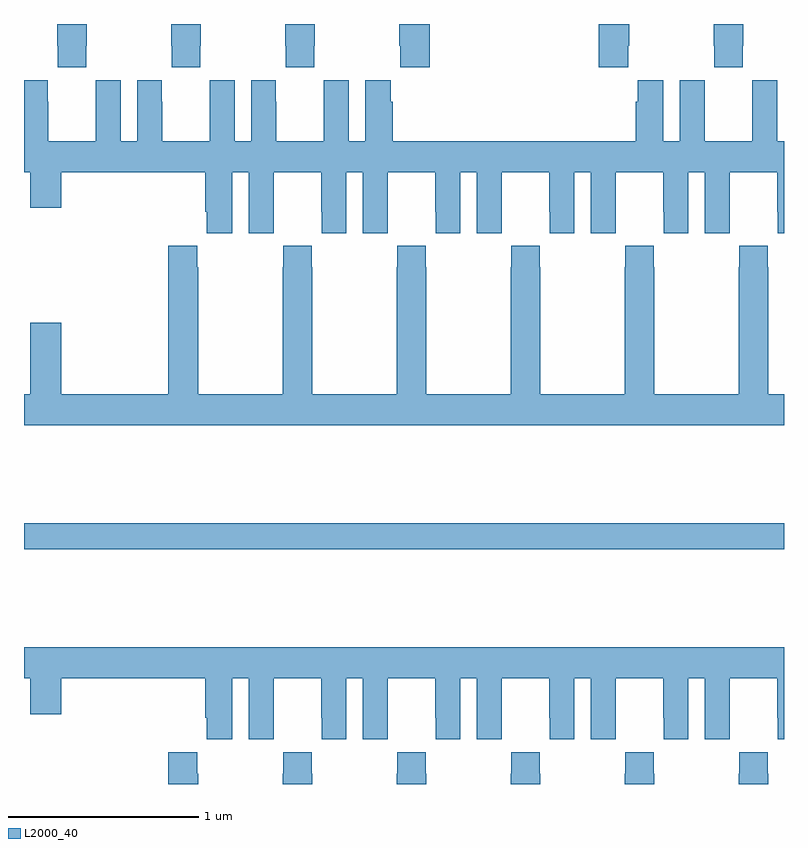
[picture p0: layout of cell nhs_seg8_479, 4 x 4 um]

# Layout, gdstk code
import gdstk
lib = gdstk.Library(unit=1e-6, precision=1e-09)
def R(c, l, rs):  # rectangles x0, y0, x1, y1
    for r in rs: c.add(gdstk.rectangle(r[:2], r[2:], *l))
def P(c, l, *ps):  # polygons
    for p in ps: c.add(gdstk.Polygon(p, *l))
L2000_40 = (2000, 40)

nhs_seg8_479 = lib.new_cell('nhs_seg8_479')
R(nhs_seg8_479, L2000_40, [(141,1161.136,145,1161.272)])
P(nhs_seg8_479, L2000_40, [(144.179,1163.785),(144.186,1163.785),(144.186,1163.9),(144.026,1163.9),(144.026,1163.673),(144.179,1163.673)],
  [(143.135,1163.9),(142.975,1163.9),(142.975,1163.785),(142.981,1163.785),(142.981,1163.673),(143.135,1163.673)],
  [(142.527,1163.785),(142.53,1163.785),(142.53,1163.9),(142.375,1163.9),(142.375,1163.785),(142.377,1163.785),(142.377,1163.673),(142.527,1163.673)],
  [(141.927,1163.785),(141.93,1163.785),(141.93,1163.9),(141.775,1163.9),(141.775,1163.785),(141.777,1163.785),(141.777,1163.673),(141.927,1163.673)],
  [(141.327,1163.785),(141.33,1163.785),(141.33,1163.9),(141.175,1163.9),(141.175,1163.785),(141.177,1163.785),(141.177,1163.673),(141.327,1163.673)],
  [(144.783,1163.785),(144.786,1163.785),(144.786,1163.9),(144.631,1163.9),(144.631,1163.785),(144.633,1163.785),(144.633,1163.673),(144.783,1163.673)],
  [(142.94,1163.492),(142.93,1163.492),(142.93,1163.605),(142.796,1163.605),(142.796,1163.284),(142.708,1163.284),(142.708,1163.605),(142.578,1163.605),(142.578,1163.492),(142.577,1163.492),(142.577,1163.284),(142.327,1163.284),(142.327,1163.492),(142.326,1163.492),(142.326,1163.605),(142.196,1163.605),(142.196,1163.284),(142.108,1163.284),(142.108,1163.605),(141.978,1163.605),(141.978,1163.492),(141.977,1163.492),(141.977,1163.284),(141.727,1163.284),(141.727,1163.492),(141.726,1163.492),(141.726,1163.605),(141.596,1163.605),(141.596,1163.284),(141.508,1163.284),(141.508,1163.605),(141.378,1163.605),(141.378,1163.492),(141.377,1163.492),(141.377,1163.284),(141.127,1163.284),(141.127,1163.492),(141.126,1163.492),(141.126,1163.605),(141,1163.605),(141,1163.12),(141.032,1163.12),(141.032,1162.932),(141.196,1162.932),(141.196,1163.12),(141.953,1163.12),(141.953,1162.912),(141.962,1162.912),(141.962,1162.8),(142.096,1162.8),(142.096,1163.12),(142.184,1163.12),(142.184,1162.8),(142.314,1162.8),(142.314,1162.912),(142.315,1162.912),(142.315,1163.12),(142.565,1163.12),(142.565,1162.912),(142.566,1162.912),(142.566,1162.8),(142.696,1162.8),(142.696,1163.12),(142.784,1163.12),(142.784,1162.8),(142.914,1162.8),(142.914,1162.912),(142.915,1162.912),(142.915,1163.12),(143.165,1163.12),(143.165,1162.912),(143.166,1162.912),(143.166,1162.8),(143.296,1162.8),(143.296,1163.12),(143.384,1163.12),(143.384,1162.8),(143.514,1162.8),(143.514,1162.912),(143.515,1162.912),(143.515,1163.12),(143.765,1163.12),(143.765,1162.912),(143.766,1162.912),(143.766,1162.8),(143.896,1162.8),(143.896,1163.12),(143.984,1163.12),(143.984,1162.8),(144.114,1162.8),(144.114,1162.912),(144.115,1162.912),(144.115,1163.12),(144.365,1163.12),(144.365,1162.912),(144.366,1162.912),(144.366,1162.8),(144.496,1162.8),(144.496,1163.12),(144.584,1163.12),(144.584,1162.8),(144.714,1162.8),(144.714,1162.912),(144.715,1162.912),(144.715,1163.12),(144.965,1163.12),(144.965,1162.912),(144.966,1162.912),(144.966,1162.8),(145,1162.8),(145,1163.284),(144.964,1163.284),(144.964,1163.605),(144.834,1163.605),(144.834,1163.492),(144.833,1163.492),(144.833,1163.284),(144.583,1163.284),(144.583,1163.492),(144.582,1163.492),(144.582,1163.605),(144.452,1163.605),(144.452,1163.284),(144.364,1163.284),(144.364,1163.605),(144.23,1163.605),(144.23,1163.492),(144.221,1163.492),(144.221,1163.284),(142.94,1163.284)],
  [(145,1161.952),(144.918,1161.952),(144.918,1162.619),(144.915,1162.619),(144.915,1162.732),(144.765,1162.732),(144.765,1162.619),(144.763,1162.619),(144.763,1161.952),(144.318,1161.952),(144.318,1162.619),(144.315,1162.619),(144.315,1162.732),(144.165,1162.732),(144.165,1162.619),(144.163,1162.619),(144.163,1161.952),(143.718,1161.952),(143.718,1162.619),(143.715,1162.619),(143.715,1162.732),(143.565,1162.732),(143.565,1162.619),(143.563,1162.619),(143.563,1161.952),(143.118,1161.952),(143.118,1162.619),(143.115,1162.619),(143.115,1162.732),(142.965,1162.732),(142.965,1162.619),(142.963,1162.619),(142.963,1161.952),(142.518,1161.952),(142.518,1162.619),(142.515,1162.619),(142.515,1162.732),(142.365,1162.732),(142.365,1162.619),(142.363,1162.619),(142.363,1161.952),(141.918,1161.952),(141.918,1162.619),(141.911,1162.619),(141.911,1162.732),(141.758,1162.732),(141.758,1161.952),(141.196,1161.952),(141.196,1162.327),(141.032,1162.327),(141.032,1161.952),(141,1161.952),(141,1161.788),(145,1161.788)],
  [(141,1160.456),(141.032,1160.456),(141.032,1160.268),(141.196,1160.268),(141.196,1160.456),(141.953,1160.456),(141.953,1160.248),(141.962,1160.248),(141.962,1160.136),(142.096,1160.136),(142.096,1160.456),(142.184,1160.456),(142.184,1160.136),(142.314,1160.136),(142.314,1160.248),(142.315,1160.248),(142.315,1160.456),(142.565,1160.456),(142.565,1160.248),(142.566,1160.248),(142.566,1160.136),(142.696,1160.136),(142.696,1160.456),(142.784,1160.456),(142.784,1160.136),(142.914,1160.136),(142.914,1160.248),(142.915,1160.248),(142.915,1160.456),(143.165,1160.456),(143.165,1160.248),(143.166,1160.248),(143.166,1160.136),(143.296,1160.136),(143.296,1160.456),(143.384,1160.456),(143.384,1160.136),(143.514,1160.136),(143.514,1160.248),(143.515,1160.248),(143.515,1160.456),(143.765,1160.456),(143.765,1160.248),(143.766,1160.248),(143.766,1160.136),(143.896,1160.136),(143.896,1160.456),(143.984,1160.456),(143.984,1160.136),(144.114,1160.136),(144.114,1160.248),(144.115,1160.248),(144.115,1160.456),(144.365,1160.456),(144.365,1160.248),(144.366,1160.248),(144.366,1160.136),(144.496,1160.136),(144.496,1160.456),(144.584,1160.456),(144.584,1160.136),(144.714,1160.136),(144.714,1160.248),(144.715,1160.248),(144.715,1160.456),(144.965,1160.456),(144.965,1160.248),(144.966,1160.248),(144.966,1160.136),(145,1160.136),(145,1160.62),(141,1160.62)],
  [(144.165,1159.955),(144.163,1159.955),(144.163,1159.9),(144.318,1159.9),(144.318,1159.955),(144.315,1159.955),(144.315,1160.068),(144.165,1160.068)],
  [(144.918,1159.955),(144.915,1159.955),(144.915,1160.068),(144.765,1160.068),(144.765,1159.955),(144.763,1159.955),(144.763,1159.9),(144.918,1159.9)],
  [(141.918,1159.955),(141.911,1159.955),(141.911,1160.068),(141.758,1160.068),(141.758,1159.9),(141.918,1159.9)],
  [(142.518,1159.955),(142.515,1159.955),(142.515,1160.068),(142.365,1160.068),(142.365,1159.955),(142.363,1159.955),(142.363,1159.9),(142.518,1159.9)],
  [(143.118,1159.955),(143.115,1159.955),(143.115,1160.068),(142.965,1160.068),(142.965,1159.955),(142.963,1159.955),(142.963,1159.9),(143.118,1159.9)],
  [(143.718,1159.955),(143.715,1159.955),(143.715,1160.068),(143.565,1160.068),(143.565,1159.955),(143.563,1159.955),(143.563,1159.9),(143.718,1159.9)])

lib.write_gds('nhs_seg8_479.gds')
